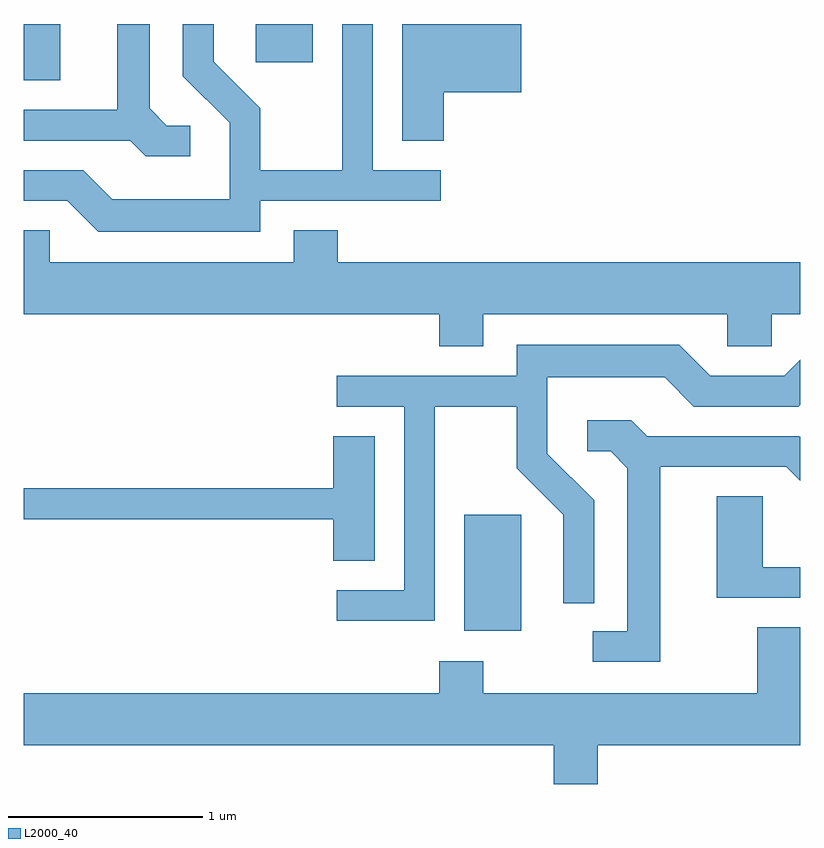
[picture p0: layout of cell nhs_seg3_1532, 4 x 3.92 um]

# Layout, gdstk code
import gdstk
lib = gdstk.Library(unit=1e-6, precision=1e-09)
def R(c, l, rs):  # rectangles x0, y0, x1, y1
    for r in rs: c.add(gdstk.rectangle(r[:2], r[2:], *l))
def P(c, l, *ps):  # polygons
    for p in ps: c.add(gdstk.Polygon(p, *l))
L2000_40 = (2000, 40)

nhs_seg3_1532 = lib.new_cell('nhs_seg3_1532')
R(nhs_seg3_1532, L2000_40, [(231.881,1188.766,232.174,1189.364), (229.611,1191.601,229.799,1191.892), (230.806,1191.696,231.099,1191.892)])
P(nhs_seg3_1532, L2000_40, [(230.829,1190.981),(231.758,1190.981),(231.758,1191.139),(231.409,1191.139),(231.409,1191.892),(231.251,1191.892),(231.251,1191.139),(230.829,1191.139),(230.829,1191.457),(230.589,1191.697),(230.589,1191.892),(230.431,1191.892),(230.431,1191.624),(230.671,1191.384),(230.671,1190.989),(230.067,1190.989),(229.917,1191.139),(229.611,1191.139),(229.611,1190.981),(229.834,1190.981),(229.994,1190.821),(230.829,1190.821)],
  [(231.774,1191.541),(232.174,1191.541),(232.174,1191.892),(231.561,1191.892),(231.561,1191.291),(231.774,1191.291)],
  [(230.468,1191.369),(230.347,1191.369),(230.259,1191.457),(230.259,1191.892),(230.091,1191.892),(230.091,1191.449),(229.611,1191.449),(229.611,1191.291),(230.159,1191.291),(230.239,1191.211),(230.468,1191.211)],
  [(231.229,1190.829),(231.001,1190.829),(231.001,1190.664),(229.744,1190.664),(229.744,1190.829),(229.611,1190.829),(229.611,1190.396),(231.751,1190.396),(231.751,1190.231),(231.979,1190.231),(231.979,1190.396),(233.236,1190.396),(233.236,1190.231),(233.464,1190.231),(233.464,1190.396),(233.611,1190.396),(233.611,1190.664),(231.229,1190.664)],
  [(231.729,1189.921),(232.151,1189.921),(232.151,1189.604),(232.391,1189.364),(232.391,1188.908),(232.549,1188.908),(232.549,1189.437),(232.309,1189.677),(232.309,1190.071),(232.914,1190.071),(233.064,1189.921),(233.602,1189.921),(233.611,1189.93),(233.611,1190.161),(233.529,1190.079),(233.147,1190.079),(232.987,1190.239),(232.151,1190.239),(232.151,1190.079),(231.223,1190.079),(231.223,1189.921),(231.571,1189.921),(231.571,1188.974),(231.223,1188.974),(231.223,1188.816),(231.729,1188.816)],
  [(232.889,1189.611),(233.539,1189.611),(233.611,1189.539),(233.611,1189.765),(233.607,1189.769),(232.822,1189.769),(232.742,1189.849),(232.513,1189.849),(232.513,1189.691),(232.634,1189.691),(232.721,1189.604),(232.721,1188.764),(232.543,1188.764),(232.543,1188.606),(232.889,1188.606)],
  [(231.419,1189.769),(231.206,1189.769),(231.206,1189.499),(229.611,1189.499),(229.611,1189.341),(231.206,1189.341),(231.206,1189.126),(231.419,1189.126)],
  [(233.611,1189.094),(233.419,1189.094),(233.419,1189.459),(233.181,1189.459),(233.181,1188.936),(233.611,1188.936)],
  [(233.611,1188.784),(233.391,1188.784),(233.391,1188.444),(231.979,1188.444),(231.979,1188.609),(231.751,1188.609),(231.751,1188.444),(229.611,1188.444),(229.611,1188.176),(232.341,1188.176),(232.341,1187.976),(232.569,1187.976),(232.569,1188.176),(233.611,1188.176)])

lib.write_gds('nhs_seg3_1532.gds')
